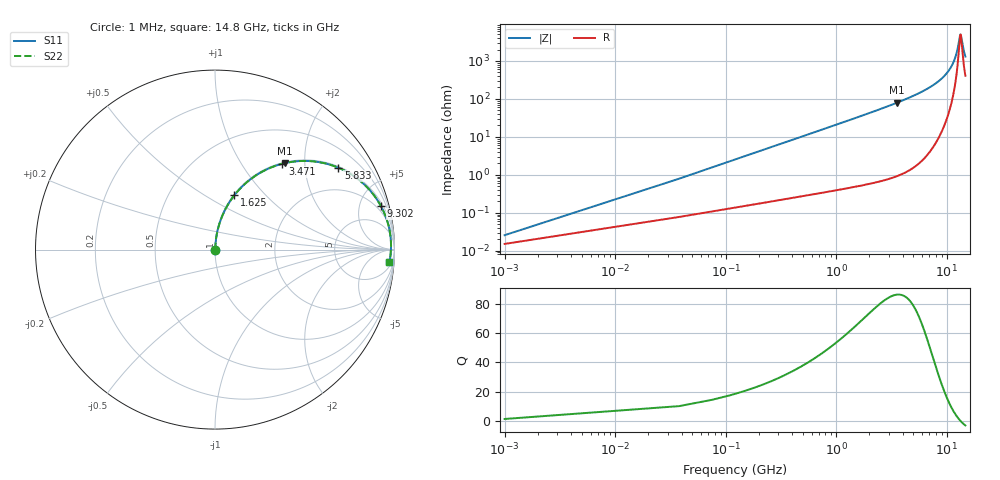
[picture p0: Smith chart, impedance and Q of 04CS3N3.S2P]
! Coilcraft 0402CS-3N3 Chip Inductor
! 29 May 2002
# MHZ S MA R 50
!Freq  MagS11  AngS11  MagS21  AngS21  MagS12  AngS12  MagS22  AngS22
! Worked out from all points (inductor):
!   402 points, 1 MHz to 14.8 GHz, reference 50 ohm
!   read as one part in series: L = 3.3 nH near 74.82 MHz
!   highest Q = 86.3 at 3.581 GHz (marker M1), where L = 3.56 nH
!   self-resonance near 13.38 GHz
!   S11 on the Smith chart (normalised r, x): 1 MHz: 1.00, +0.00; 1.625 GHz: 1.01, +0.68; 3.471 GHz: 1.02, +1.54; 5.833 GHz: 1.04, +2.99; 9.302 GHz: 1.33, +7.46; 14.8 GHz: 9, -25
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1  0.0002565 53.9  0.9998 -0.0  0.9998 -0.0  0.0002565 53.9
111.73  0.02317 85.4  0.9984 -1.3  0.9984 -1.3  0.02317 85.4
185.55  0.03842 85.3  0.9976 -2.2  0.9976 -2.2  0.03842 85.3
296.28  0.06125 84.5  0.996 -3.5  0.996 -3.5  0.06125 84.5
480.83  0.09911 82.8  0.9924 -5.7  0.9924 -5.7  0.09911 82.8
776.11  0.1589 79.6  0.9839 -9.1  0.9839 -9.1  0.1589 79.6
1625.04  0.3222 70.4  0.9419 -18.8  0.9419 -18.8  0.3222 70.4
2473.97  0.4667 61.5  0.8786 -27.8  0.8786 -27.8  0.4667 61.5
3470.54  0.6075 51.9  0.7873 -37.4  0.7873 -37.4  0.6075 51.9
3581.27  0.6212 50.9  0.7765 -38.4  0.7765 -38.4  0.6212 50.9
4946.94  0.7605 39.8  0.6398 -49.5  0.6398 -49.5  0.7605 39.8
5832.78  0.8254 33.5  0.5525 -55.6  0.5525 -55.6  0.8254 33.5
7419.91  0.9045 24.0  0.4068 -64.7  0.4068 -64.7  0.9045 24.0
9302.32  0.9554 14.8  0.2557 -72.6  0.2557 -72.6  0.9554 14.8
9892.88  0.9647 12.3  0.2132 -74.4  0.2132 -74.4  0.9647 12.3
11369.28  0.9782 6.6  0.116 -75.9  0.116 -75.9  0.9782 6.6
12365.85  0.9811 3.2  0.0582 -69.5  0.0582 -69.5  0.9811 3.2
13177.87  0.9808 0.6  0.02193 -28.3  0.02193 -28.3  0.9808 0.6
13362.42  0.9804 0.0  0.01965 -2.3  0.01965 -2.3  0.9804 0.0
13546.97  0.9799 -0.5  0.02195 23.3  0.02195 23.3  0.9799 -0.5
14248.26  0.9772 -2.5  0.04941 61.2  0.04941 61.2  0.9772 -2.5
14800  0.9742 -4.1  0.07459 67.8  0.07459 67.8  0.9742 -4.1
